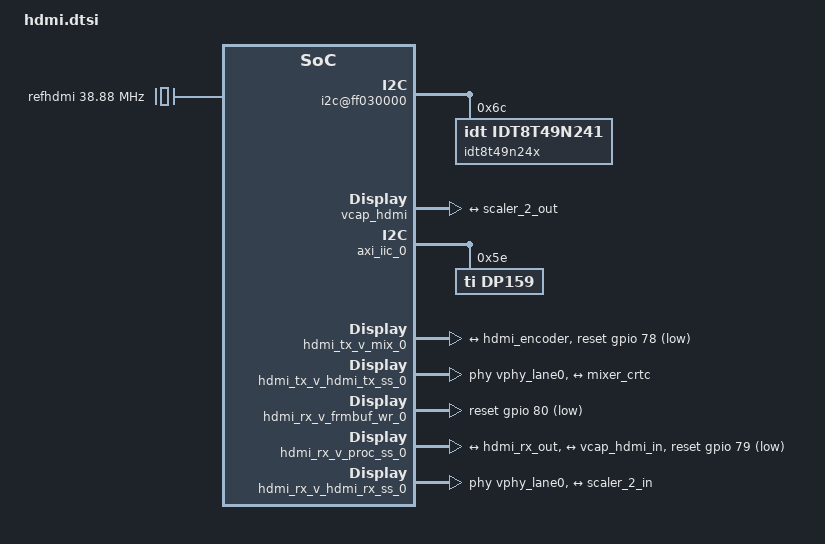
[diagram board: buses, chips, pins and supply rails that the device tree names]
#include <dt-bindings/media/xilinx-vip.h>

&axi_iic_0 {
    /* DP159 exposes a virtual CCF clock. Upon .set_rate(), it adapts its retiming/driving behaviour */
    dp159: hdmi-retimer@5e {
            status = "okay";
            compatible = "ti,dp159";
            reg = <0x5e>;
            #address-cells = <1>;
            #size-cells = <0>;
            #clock-cells = <0>;
    };
};

/* HDMI TX */
&hdmi_tx_v_mix_0 {
    reset-gpios = <&gpio 78 1>; // emio_gpio 78 + 0

    crtc_mixer_port: port@0 {
            reg = <0>;
            mixer_crtc: endpoint {
                    remote-endpoint = <&hdmi_encoder>;
            };
    };
    mixer_master_layer: layer_0 {
            xlnx,layer-id = <0>;
            xlnx,vformat = "BG24";
            xlnx,layer-max-width = <3840>;
            xlnx,layer-max-height = <2160>;
    };
    mixer_overlay_1: layer_1 {
            xlnx,layer-id = <1>;
            xlnx,vformat = "YUYV";
            xlnx,layer-alpha;
            xlnx,layer-max-width = <3840>;
    };
    mixer_overlay_2: layer_2 {
            xlnx,layer-id = <2>;
            xlnx,vformat = "YUYV";
            xlnx,layer-alpha;
            xlnx,layer-max-width = <3840>;
    };
    mixer_overlay_3: layer_3 {
            xlnx,layer-id = <3>;
            xlnx,vformat = "UYVY";
            xlnx,layer-alpha;
            xlnx,layer-max-width = <3840>;
    };
    mixer_overlay_4: layer_4 {
            xlnx,layer-id = <4>;
            xlnx,vformat = "UYVY";
            xlnx,layer-alpha;
            xlnx,layer-max-width = <3840>;
    };
    mixer_overlay_5: layer_5 {
            xlnx,layer-id = <5>;
            xlnx,vformat = "UYVY";
            xlnx,layer-alpha;
            xlnx,layer-max-width = <3840>;
    };
    mixer_overlay_6: layer_6 {
            xlnx,layer-id = <6>;
            xlnx,vformat = "UYVY";
            xlnx,layer-alpha;
            xlnx,layer-max-width = <3840>;
    };
    mixer_overlay_7: layer_7 {
            xlnx,layer-id = <7>;
            xlnx,vformat = "AR24";
            xlnx,layer-alpha;
            xlnx,layer-max-width = <3840>;
            xlnx,layer-primary;
    };
};

&hdmi_tx_v_hdmi_tx_ss_0 {
    clock-names = "s_axi_cpu_aclk", "link_clk", "s_axis_audio_aclk", "video_clk", "s_axis_video_aclk", "txref-clk", "retimer-clk";
    clocks = <&zynqmp_clk 71>, <&misc_clk_1>, <&zynqmp_clk 71>, <&misc_clk_2>, <&misc_clk_0>, <&idt8t49n24x 3>, <&dp159>;
    phy-names = "hdmi-phy0", "hdmi-phy1", "hdmi-phy2";
    phys = <&vphy_lane0 0 1 1 1>, <&vphy_lane1 0 1 1 1>, <&vphy_lane2 0 1 1 1>;
    xlnx,input-pixels-per-clock = <2>;
    xlnx,max-bits-per-component = <8>;
    hdmitx_ports: ports {
            #address-cells = <1>;
            #size-cells = <0>;
            encoder_hdmi_port: port@0 {
                    reg = <0>;
                    hdmi_encoder: endpoint {
                            remote-endpoint = <&mixer_crtc>;
                    };
            };
    };
};

/* HDMI RX */
&hdmi_rx_v_frmbuf_wr_0 {
    reset-gpios = <&gpio 80 1>; // emio_gpio 78 + 2
};

&hdmi_rx_v_proc_ss_0 {
    compatible = "xlnx,v-vpss-scaler-2.2";
    reset-gpios = <&gpio 79 1>; // emio_gpio 78 + 1
    ports {
        #address-cells = <1>;
        #size-cells = <0>;

        port@0 {
            reg = <0>;

            xlnx,video-format = <XVIP_VF_RBG>;
            xlnx,video-width = <8>;

            scaler_2_in: endpoint {
                remote-endpoint = <&hdmi_rx_out>;
            };
        };
        port@1 {
            reg = <1>;

            xlnx,video-format = <XVIP_VF_YUV_422>;
            xlnx,video-width = <8>;

            scaler_2_out: endpoint {
                remote-endpoint = <&vcap_hdmi_in>;
            };
        };
    };
};

&hdmi_rx_v_hdmi_rx_ss_0 {
    phy-names = "hdmi-phy0", "hdmi-phy1", "hdmi-phy2";
    phys = <&vphy_lane0 0 1 1 0>, <&vphy_lane1 0 1 1 0>, <&vphy_lane2 0 1 1 0>;
    reg-names = "hdmi-rxss";
    xlnx,edid-ram-size = <0x100>;
    xlnx,input-pixels-per-clock = <2>;
    xlnx,max-bits-per-component = <8>;
    hdmirx_ports: ports {
        #address-cells = <1>;
        #size-cells = <0>;
        hdmirx_port: port@0 {
                reg = <0>;
                hdmi_rx_out: endpoint {
                        remote-endpoint = <&scaler_2_in>;
                };
        };
    };
};

/ {

    amba: amba {
        i2c@ff030000 {
            i2cswitch@70 {
                i2c@0 {

                    /* idt8t49n241 i2c clock generator */
                    idt8t49n24x: clock-generator@6c {
                        status = "okay";
                        compatible = "idt,idt8t49n241";
                        #clock-cells = <1>;
                        reg = <0x6c>;

                        /* input clock(s); the XTAL is hard-wired on the ZCU104 board */
                        clocks = <&refhdmi>;
                        clock-names = "input-xtal";
                    };
                };
            };
        };
    };

    amba_pl: amba_pl@0 {

        /* 38.880MHz reference crystal for 8t49n241 clock for HDMI */
        /* IIC controller with 8t49n24x clock generator and DP159 retimer for HDMI TX */
        refhdmi: refhdmi {
                compatible = "fixed-clock";
                #clock-cells = <0>;
                clock-frequency = <38880000>;
        };

        vcap_hdmi {
            compatible = "xlnx,video";
            dma-names = "port0";
            dmas = <&hdmi_rx_v_frmbuf_wr_0 0>;
            vcap_hdmi_ports: ports {
                    #address-cells = <1>;
                    #size-cells = <0>;
                    vcap_hdmi_port: port@0 {
                            direction = "input";
                            reg = <0>;
                            vcap_hdmi_in: endpoint {
                                    remote-endpoint = <&scaler_2_out>;
                            };
                    };
            };
        };
    };
};

